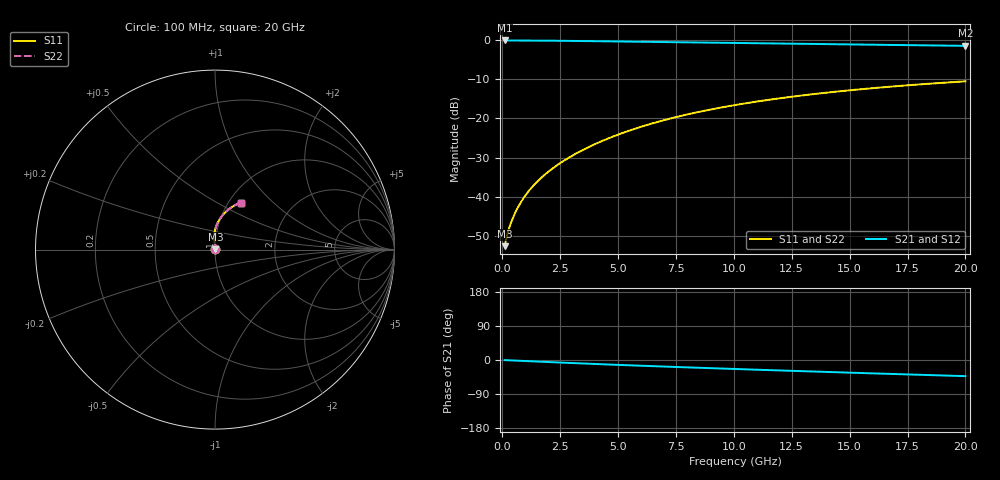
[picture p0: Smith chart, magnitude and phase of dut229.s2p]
! Touchstone file exported from HFSS 2024.1.0
!  File:  C:/UserFiles/LocalFiles/RDL_TSV_Batchsim/temp_RDL_top_229_1778688098.aedt
!  Generated:  12:03:32 AM May 14, 2026
!  Design:  RDL_top
!  Project:  temp_RDL_top_229_1778688098
!  Setup:  Setup1
!  Solution:  Sweep
! Variables:
!  dtsv = 10.80580581um
!  hbump = 3um
!  htsv = 50.4um
!  ldown = 100um
!  lrdl = 678.85um
!  p = 40
!  p1 = 50.22um
!  rhole = 1um
!  t = 450um
!  tdown = 3.915915916um
!  trdl = 4.85um
!  wdown = 15.38538539um
!  wrdl = 29.22um
# GHz S MA R 50.000000
! Terminal data exported
! Port[1] = Box2_T1
! Port[2] = Box2_T2
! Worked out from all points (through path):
!   200 points, 100 MHz to 20 GHz, reference 50 ohm
!   highest |S21| = -0.02 dB at 100 MHz (marker M1); lowest = -1.4 dB at 20 GHz (marker M2)
!   group delay of S21, straight-line fit = 5.8 ps
!   lowest |S11| = -52.7 dB at 100 MHz (marker M3), VSWR 1.00, Z = 50.2 + j0.126 ohm
!   |S11| at or under -10 dB: start of sweep to end of sweep
!   |S22| runs from -52.7 to -10.5 dB; largest |S21 - S12| = 1.8e-14
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0.1  0.002314 32.9  0.998 -0.3  0.998 -0.3  0.002314 32.9
! Gamma 0 0 0 0
! Port Impedance 50 0 50 0
0.2  0.003148 47.6  0.9978 -0.6  0.9978 -0.6  0.003148 47.6
0.3  0.003978 56.0  0.9976 -0.8  0.9976 -0.8  0.003978 56.0
0.5  0.005679 66.7  0.9972 -1.4  0.9972 -1.4  0.005679 66.7
0.6  0.006569 70.4  0.997 -1.7  0.997 -1.7  0.00657 70.3
0.8  0.008422 75.8  0.9965 -2.2  0.9965 -2.2  0.008422 75.8
1  0.01035 79.6  0.996 -2.8  0.996 -2.8  0.01035 79.6
1.2  0.01234 82.4  0.9953 -3.3  0.9953 -3.3  0.01234 82.4
1.7  0.01759 87.3  0.9931 -4.6  0.9931 -4.6  0.01758 87.2
2.2  0.02322 90.3  0.9904 -6.0  0.9904 -6.0  0.02321 90.3
2.8  0.03051 92.7  0.9865 -7.5  0.9865 -7.5  0.03049 92.6
3.5  0.03978 94.2  0.9812 -9.3  0.9812 -9.3  0.03974 94.1
4.2  0.04982 94.7  0.9755 -11.0  0.9755 -11.0  0.04976 94.7
5  0.0621 94.5  0.9685 -12.9  0.9685 -12.9  0.06202 94.5
5.9  0.07674 93.5  0.9606 -15.0  0.9606 -15.0  0.07663 93.5
6.8  0.09197 92.0  0.9526 -17.0  0.9526 -17.0  0.09184 91.9
8.4  0.1198 88.5  0.9388 -20.4  0.9388 -20.4  0.1196 88.5
10.1  0.1494 84.4  0.9249 -23.9  0.9249 -23.9  0.1492 84.3
11.7  0.1766 80.4  0.9123 -27.0  0.9123 -27.0  0.1764 80.3
13.4  0.2045 76.2  0.8994 -30.4  0.8994 -30.4  0.2042 76.2
16.7  0.2546 68.5  0.8752 -36.6  0.8752 -36.6  0.2543 68.4
20  0.299 61.3  0.852 -42.6  0.852 -42.6  0.2986 61.3
